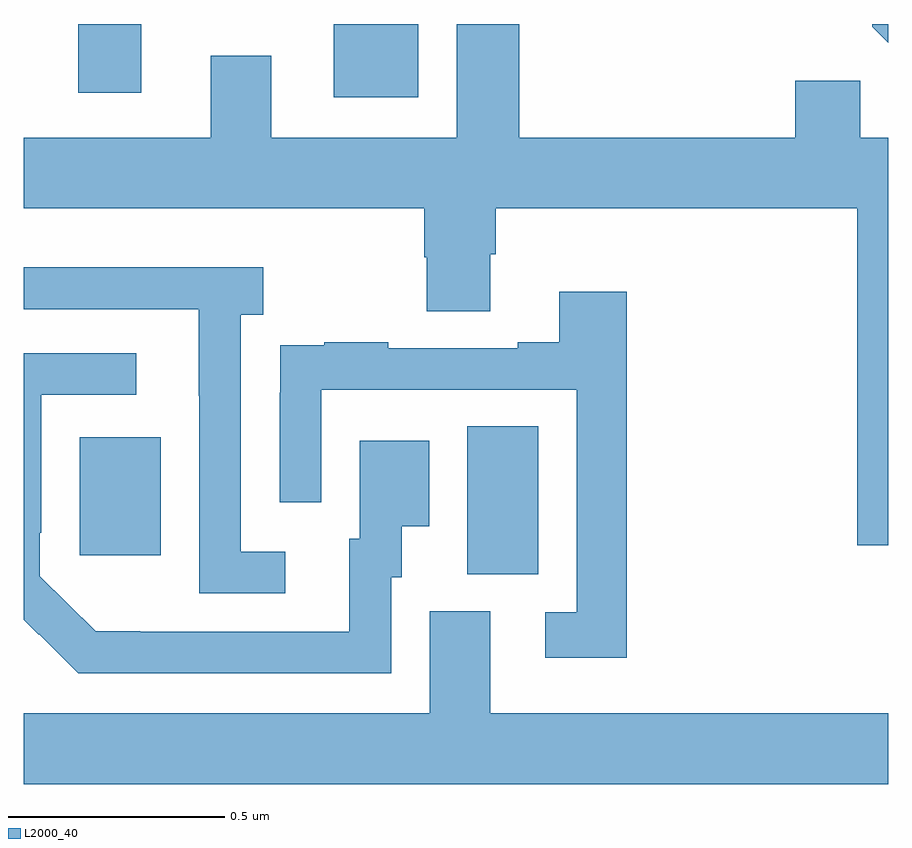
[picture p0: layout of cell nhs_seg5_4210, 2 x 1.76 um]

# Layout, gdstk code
import gdstk
lib = gdstk.Library(unit=1e-6, precision=1e-09)
def R(c, l, rs):  # rectangles x0, y0, x1, y1
    for r in rs: c.add(gdstk.rectangle(r[:2], r[2:], *l))
def P(c, l, *ps):  # polygons
    for p in ps: c.add(gdstk.Polygon(p, *l))
L2000_40 = (2000, 40)

nhs_seg5_4210 = lib.new_cell('nhs_seg5_4210')
R(nhs_seg5_4210, L2000_40, [(168.026,910.525,168.19,910.868), (167.129,910.569,167.317,910.843), (167.717,911.63,167.913,911.799), (167.126,911.64,167.272,911.799)])
P(nhs_seg5_4210, L2000_40, [(169,911.536),(168.936,911.536),(168.936,911.668),(168.785,911.668),(168.785,911.536),(168.146,911.536),(168.146,911.799),(168.002,911.799),(168.002,911.536),(167.572,911.536),(167.572,911.726),(167.432,911.726),(167.432,911.536),(167,911.536),(167,911.372),(167.927,911.372),(167.927,911.259),(167.932,911.259),(167.932,911.134),(168.079,911.134),(168.079,911.266),(168.092,911.266),(168.092,911.372),(168.929,911.372),(168.929,910.593),(169,910.593)],
  [(169,911.799),(168.963,911.799),(168.963,911.793),(169,911.756)],
  [(167.605,910.578),(167.502,910.578),(167.502,911.126),(167.554,911.126),(167.554,911.236),(167,911.236),(167,911.139),(167.405,911.139),(167.405,910.939),(167.406,910.939),(167.406,910.482),(167.605,910.482)],
  [(168.395,911.179),(168.239,911.179),(168.239,911.062),(168.143,911.062),(168.143,911.049),(167.843,911.049),(167.843,911.062),(167.695,911.062),(167.695,911.055),(167.593,911.055),(167.593,910.946),(167.592,910.946),(167.592,910.692),(167.688,910.692),(167.688,910.953),(168.279,910.953),(168.279,910.437),(168.207,910.437),(168.207,910.332),(168.395,910.332)],
  [(167.85,910.518),(167.875,910.518),(167.875,910.637),(167.938,910.637),(167.938,910.834),(167.777,910.834),(167.777,910.608),(167.753,910.608),(167.753,910.392),(167.269,910.392),(167.269,910.393),(167.166,910.393),(167.037,910.521),(167.037,910.621),(167.04,910.621),(167.04,910.941),(167.26,910.941),(167.26,911.037),(167,911.037),(167,910.42),(167.034,910.386),(167.035,910.387),(167.126,910.296),(167.85,910.296)],
  [(169,910.204),(168.079,910.204),(168.079,910.44),(167.939,910.44),(167.939,910.204),(167,910.204),(167,910.04),(169,910.04)])

lib.write_gds('nhs_seg5_4210.gds')
